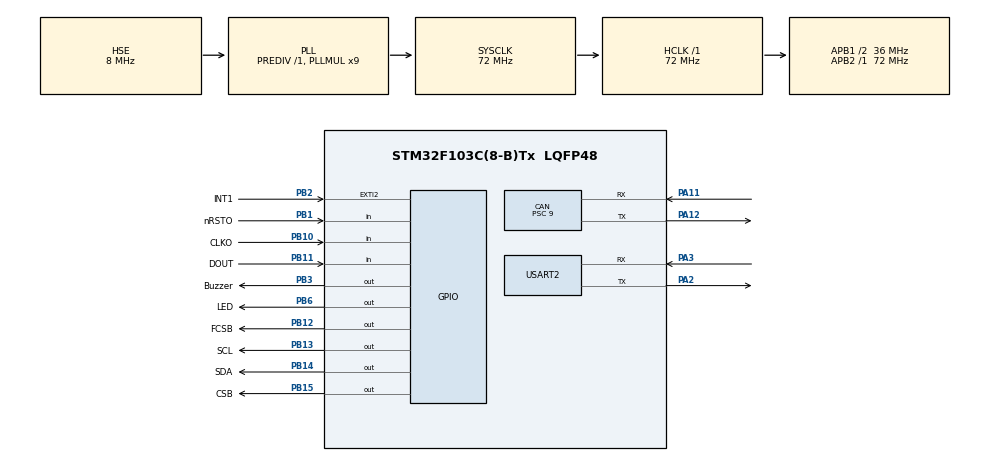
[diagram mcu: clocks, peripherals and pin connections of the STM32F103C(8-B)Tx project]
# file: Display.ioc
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CAN.BS1=CAN_BS1_7TQ
CAN.BS2=CAN_BS2_8TQ
CAN.CalculateTimeBit=4000
CAN.CalculateTimeQuantum=250.0
CAN.Prescaler=9
Dma.Request0=USART2_RX
Dma.USART2_RX.0.Direction=DMA_PERIPH_TO_MEMORY
Dma.USART2_RX.0.Instance=DMA1_Channel6
Dma.USART2_RX.0.MemDataAlignment=DMA_MDATAALIGN_BYTE
Dma.USART2_RX.0.MemInc=DMA_MINC_ENABLE
Dma.USART2_RX.0.Mode=DMA_NORMAL
Dma.USART2_RX.0.PeriphDataAlignment=DMA_PDATAALIGN_BYTE
Dma.USART2_RX.0.PeriphInc=DMA_PINC_DISABLE
Dma.USART2_RX.0.Priority=DMA_PRIORITY_LOW
Mcu.Family=STM32F1
Mcu.Name=STM32F103C(8-B)Tx
Mcu.Package=LQFP48
NVIC.DMA1_Channel6_IRQn=true\:0\:0\:false\:false\:true\:false
NVIC.EXTI2_IRQn=true\:2\:0\:true\:false\:true\:true
NVIC.PriorityGroup=NVIC_PRIORITYGROUP_4
NVIC.TIM3_IRQn=true\:3\:0\:true\:false\:true\:true
NVIC.USART2_IRQn=true\:1\:0\:true\:false\:true\:true
NVIC.USB_LP_CAN1_RX0_IRQn=true\:0\:0\:false\:false\:true\:true
PA11.Mode=Master
PA11.Signal=CAN_RX
PA12.Mode=Master
PA12.Signal=CAN_TX
PA13.Mode=Serial_Wire
PA13.Signal=SYS_JTMS-SWDIO
PA14.Mode=Serial_Wire
PA14.Signal=SYS_JTCK-SWCLK
PA2.Mode=Asynchronous
PA2.Signal=USART2_TX
PA3.Mode=Asynchronous
PA3.Signal=USART2_RX
PB1.GPIO_Label=nRSTO
PB1.Signal=GPIO_Input
PB10.GPIO_Label=CLKO
PB10.Signal=GPIO_Input
PB11.GPIO_Label=DOUT
PB11.GPIO_PuPd=GPIO_PULLUP
PB11.Signal=GPIO_Input
PB12.GPIO_Label=FCSB
PB12.GPIO_Speed=GPIO_SPEED_FREQ_HIGH
PB12.Signal=GPIO_Output
PB13.GPIO_Label=SCL
PB13.GPIO_Speed=GPIO_SPEED_FREQ_HIGH
PB13.Signal=GPIO_Output
PB14.GPIO_Label=SDA
PB14.GPIO_Speed=GPIO_SPEED_FREQ_HIGH
PB14.Signal=GPIO_Output
PB15.GPIO_Label=CSB
PB15.GPIO_Speed=GPIO_SPEED_FREQ_HIGH
PB15.Signal=GPIO_Output
PB2.GPIO_Label=INT1
PB2.GPIO_PuPd=GPIO_PULLUP
PB2.Signal=GPXTI2
PB3.GPIO_Label=Buzzer
PB3.Signal=GPIO_Output
PB6.GPIO_Label=LED
PB6.Signal=GPIO_Output
PD0-OSC_IN.Mode=HSE-External-Oscillator
PD0-OSC_IN.Signal=RCC_OSC_IN
PD1-OSC_OUT.Mode=HSE-External-Oscillator
PD1-OSC_OUT.Signal=RCC_OSC_OUT
ProjectManager.HeapSize=0x200
ProjectManager.StackSize=0x400
ProjectManager.TargetToolchain=MDK-ARM V5
RCC.AHBFreq_Value=72000000
RCC.APB1CLKDivider=RCC_HCLK_DIV2
RCC.APB1Freq_Value=36000000
RCC.APB1TimFreq_Value=72000000
RCC.APB2Freq_Value=72000000
RCC.APB2TimFreq_Value=72000000
RCC.HCLKFreq_Value=72000000
RCC.PLLMUL=RCC_PLL_MUL9
RCC.PLLSourceVirtual=RCC_PLLSOURCE_HSE
RCC.SYSCLKFreq_VALUE=72000000
RCC.SYSCLKSource=RCC_SYSCLKSOURCE_PLLCLK
RCC.USBFreq_Value=72000000
TIM3.Period=4999
TIM3.Prescaler=7199
USART2.VirtualMode=VM_ASYNC
VP_TIM3_VS_ClockSourceINT.Mode=Internal
board=Display

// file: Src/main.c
/**
  ******************************************************************************
  * @file           : main.c
  * @brief          : Main program body
  ******************************************************************************
  ** This notice applies to any and all portions of this file
  * that are not between comment pairs USER CODE BEGIN and
  * USER CODE END. Other portions of this file, whether
  * inserted by the user or by software development tools
  * are owned by their respective copyright owners.
  *
  * COPYRIGHT(c) 2018 STMicroelectronics
  *
  * Redistribution and use in source and binary forms, with or without modification,
  * are permitted provided that the following conditions are met:
  *   1. Redistributions of source code must retain the above copyright notice,
  *      this list of conditions and the following disclaimer.
  *   2. Redistributions in binary form must reproduce the above copyright notice,
  *      this list of conditions and the following disclaimer in the documentation
  *      and/or other materials provided with the distribution.
  *   3. Neither the name of STMicroelectronics nor the names of its contributors
  *      may be used to endorse or promote products derived from this software
  *      without specific prior written permission.
  *
  * THIS SOFTWARE IS PROVIDED BY THE COPYRIGHT HOLDERS AND CONTRIBUTORS "AS IS"
  * AND ANY EXPRESS OR IMPLIED WARRANTIES, INCLUDING, BUT NOT LIMITED TO, THE
  * IMPLIED WARRANTIES OF MERCHANTABILITY AND FITNESS FOR A PARTICULAR PURPOSE ARE
  * DISCLAIMED. IN NO EVENT SHALL THE COPYRIGHT HOLDER OR CONTRIBUTORS BE LIABLE
  * FOR ANY DIRECT, INDIRECT, INCIDENTAL, SPECIAL, EXEMPLARY, OR CONSEQUENTIAL
  * DAMAGES (INCLUDING, BUT NOT LIMITED TO, PROCUREMENT OF SUBSTITUTE GOODS OR
  * SERVICES; LOSS OF USE, DATA, OR PROFITS; OR BUSINESS INTERRUPTION) HOWEVER
  * CAUSED AND ON ANY THEORY OF LIABILITY, WHETHER IN CONTRACT, STRICT LIABILITY,
  * OR TORT (INCLUDING NEGLIGENCE OR OTHERWISE) ARISING IN ANY WAY OUT OF THE USE
  * OF THIS SOFTWARE, EVEN IF ADVISED OF THE POSSIBILITY OF SUCH DAMAGE.
  *
  ******************************************************************************
  */
#include "main.h"
#include "stm32f1xx_hal.h"

/* USER CODE BEGIN Includes */
#include "can.h"
#include "delay.h"
#include "wirespi.h"
#include "cmt2219a.h"
#include "tft.h"
#include "internalflash.h"
#include "prj_typedef.h"
/* USER CODE END Includes */

CAN_HandleTypeDef hcan;

TIM_HandleTypeDef htim3;

UART_HandleTypeDef huart2;
DMA_HandleTypeDef hdma_usart2_rx;

/* USER CODE BEGIN PV */
/* Private variables ---------------------------------------------------------*/
#define WIFI_RX_LEN 12
#define WIRE_TRUE 1                           //中断发生接收到了数据
#define WIRE_FALSE 0                          //未收到数据
#define ALARM_ON 0                            //开启报警
#define ALARM_OFF 1                           //关闭报警
#define CAN_TX_LEN 8													//CAN传输长度
#define CAN_TX_TIME 3000
#define CAN_ID 0x18FEE9D8

extern uint8_t CfgTbl[];                      //无线配置表数组
extern uint8_t frame_valid;                   //无线接收中断标志

uint8_t WIFI_RxBuf[WIFI_RX_LEN]={0,1,0};          //无线接收缓冲数组
uint8_t TFT_RxBuf[110]={0};                     //串口接收缓冲数组
uint8_t TFT_ACK[6]={0};
uint32_t Alarm_state[2]={ALARM_ON,ALARM_ON};
SensorsTypeDef hsensor;

uint8_t TFTRxComplete=0;

uint8_t alarm_pos=0;                          //出现危化品位置值
uint16_t alarm_cnt=0;													//报警计时
uint8_t alarm_send=0;
//uint8_t alarm_state=ALARM_ON;                //报警状态
//uint8_t alarm_volume=ALARM_ON;                //报警音量
uint8_t value_xor=0;                          //异或值校验
//uint8_t selfcheck_state=0;                   //can是否自检
uint8_t selfcheck_cnt=0;                     //自检计数因子
//float front_alarm_value=0.01;                 //前门报警阈值
//float rear_alarm_value=0.01;                  //后门报警阈值
//float alarm_value=0.01;                       //报警阈值
//uint16_t tim2_cnt=0;
uint8_t CAN_Tx_Flag=0;
uint8_t CAN_AlarmTxBuf[8]={0,0,0,0,0,0xFF,0xFF,0xFF};
uint8_t CAN_TxBuf[8]={0,0,0,0,0,0xFF,0xFF,0xFF};
cmt2219aClass radio;                          //无线模块配置

CAN_FilterConfTypeDef  sFilterConfig;
/* USER CODE END PV */

void SystemClock_Config(void);
static void MX_GPIO_Init(void);
static void MX_DMA_Init(void);
static void MX_CAN_Init(void);
static void MX_TIM3_Init(void);
static void MX_USART2_UART_Init(void);

/* USER CODE BEGIN PFP */
/* Private function prototypes -----------------------------------------------*/

/* USER CODE END PFP */

/* USER CODE BEGIN 0 */
void vCMT2219_Setup(void);
/* USER CODE END 0 */

int main(void)
{
  /* USER CODE BEGIN 1 */
uint8_t i=0;
  /* USER CODE END 1 */

  /* MCU Configuration----------------------------------------------------------*/

  /* Reset of all peripherals, Initializes the Flash interface and the Systick. */
  HAL_Init();

  /* Configure the system clock */
  SystemClock_Config();

  /* Initialize all configured peripherals */
  MX_GPIO_Init();
  MX_DMA_Init();
  MX_CAN_Init();
  MX_TIM3_Init();
  MX_USART2_UART_Init();
  /* USER CODE BEGIN 2 */
	hsensor.HUMI.number_float=50;
	hsensor.TEMP.number_float=20;
	CAN_TX_Init(&hcan, CAN_ID);
	Delay_Init(72);                           //配置us延时初始化函数
	vCMT2219_Setup();                             //配置无线模块参数
	MyCAN_FilterConf(&hcan,&sFilterConfig);       //配置CAN过滤器组并使能接收中断
	HAL_TIM_Base_Start_IT(&htim3);
	//读flash中报警状态
	LoadSetArray(FLASH_USER_START_ADDR+RISKCHEMI_ALARMSET_ADDR, Alarm_state,2);
	Delay_us(500000);
	TFT_StartDesktop(*Alarm_state);
	Delay_us(3000);
	__HAL_UART_ENABLE_IT(&huart2, UART_IT_IDLE);
  /* USER CODE END 2 */

  /* Infinite loop */

  /* USER CODE BEGIN WHILE */
  while (1)
  {
		/**************************串口屏通信**********************************/
		HAL_GPIO_TogglePin(GPIOB, LED_Pin);
		HAL_UART_Receive_DMA(&huart2, TFT_RxBuf, 110);
		if(TFTRxComplete==1)
		{
			TFTRxComplete=0;
			if((TFT_RxBuf[4]==0x30)&&(TFT_RxBuf[7]==0xAA))
			{
				if(TFT_RxBuf[8]==0xB0)
				{
					if((TFT_RxBuf[9]==0x00)&&(TFT_RxBuf[10]==0x00))                            //关闭报警
					{
						*Alarm_state=ALARM_OFF;
						FlashWrite_ArrayUint32(FLASH_USER_START_ADDR+RISKCHEMI_ALARMSET_ADDR, Alarm_state,2);
					}
					else if((TFT_RxBuf[9]==0x01)&&(TFT_RxBuf[10]==0x00))                      //打开报警
					{
						*Alarm_state=ALARM_ON;
						FlashWrite_ArrayUint32(FLASH_USER_START_ADDR+RISKCHEMI_ALARMSET_ADDR, Alarm_state,2);
					}
				}
				else if(TFT_RxBuf[8]==0xB1)
				{
					if(TFT_RxBuf[9]==0x01)                            //关闭声音
					{
						*(Alarm_state+1)=ALARM_OFF;
						FlashWrite_ArrayUint32(FLASH_USER_START_ADDR+RISKCHEMI_ALARMSET_ADDR, Alarm_state,2);
					}
					else                                              //打开声音
						{
						*(Alarm_state+1)=ALARM_ON;
						FlashWrite_ArrayUint32(FLASH_USER_START_ADDR+RISKCHEMI_ALARMSET_ADDR, Alarm_state,2);
					}
				}
			}
			if((TFT_RxBuf[4]==0x40)&&(TFT_RxBuf[5]==0x01)&&(TFT_RxBuf[6]==0x02))
				alarm_send=1;																				//发送报警按钮按下
		}

	  /*************************无线数据接收****************************************/
		if(frame_valid==WIRE_TRUE)
		{                                                                                                                                                                                                                                                                                                                                                                                                                                                                                                                                                                                                                                                                                                                                                                                                                                                                                                                                                                                                                                                                                                                                                                                                                                                                                                                                                                                                                                                                                                                                                                                                                                                                                                                                                          {
			frame_valid=WIRE_FALSE;                        //外部中断标志清零
			HAL_GPIO_WritePin(GPIOB, LED_Pin, GPIO_PIN_RESET);
			HAL_NVIC_DisableIRQ(EXTI2_IRQn);               //关闭外部中断即无线接收中断
			bCMT2219_GetMessage(WIFI_RxBuf, WIFI_RX_LEN);  //获取包数据
			value_xor=0;
			for(uint8_t i=0;i<WIFI_RX_LEN-1;i++)                      //校验接收到的数据
			{
				value_xor^=WIFI_RxBuf[i];
			}
			if(WIFI_RxBuf[WIFI_RX_LEN-1]==value_xor&&value_xor!=0)//如果接受到正确的帧头信息并且不是全0错误数据
			{
				//只收进来温度湿度数据
				hsensor.TEMP.number_uchar[3]=WIFI_RxBuf[3];
				hsensor.TEMP.number_uchar[2]=WIFI_RxBuf[4];
				hsensor.TEMP.number_uchar[1]=WIFI_RxBuf[5];
				hsensor.TEMP.number_uchar[0]=WIFI_RxBuf[6];
				hsensor.HUMI.number_uchar[3]=WIFI_RxBuf[7];
				hsensor.HUMI.number_uchar[2]=WIFI_RxBuf[8];
				hsensor.HUMI.number_uchar[1]=WIFI_RxBuf[9];
				hsensor.HUMI.number_uchar[0]=WIFI_RxBuf[10];
				TFT_TransTemHumi((uint16_t)hsensor.TEMP.number_float,(uint16_t)hsensor.HUMI.number_float);//更新温湿度

				CAN_TxBuf[3]=	(uint16_t)((hsensor.TEMP.number_float+64.f)/0.5);	//温度值
				CAN_TxBuf[4]=(uint16_t)(hsensor.HUMI.number_float/0.5);	//湿度值
				CAN_AlarmTxBuf[3]=	(uint16_t)((hsensor.TEMP.number_float+64.f)/0.5);	//温度值
				CAN_AlarmTxBuf[4]=(uint16_t)(hsensor.HUMI.number_float/0.5);	//湿度值
			}
			vCMT2219_Setup();
			HAL_NVIC_EnableIRQ(EXTI2_IRQn);                //使能外部中断
		}
	}
		Delay_us(999);
		/****************************报警处理**********************************/
		if(*Alarm_state==ALARM_ON)
		{
			if(WIFI_RxBuf[1]==0X00)     //如果是报警信号
			{
				WIFI_RxBuf[1]=0XFF;
				alarm_pos=WIFI_RxBuf[2];
				alarm_cnt=5000;           //报警3000ms
			}

			if(*(Alarm_state+1)==ALARM_OFF)
					HAL_GPIO_WritePin(GPIOB, Buzzer_Pin, GPIO_PIN_RESET);
			if(alarm_cnt>0)
				alarm_cnt--;
				//报警图像处理
			if(alarm_cnt==4999)
			{
				TFT_SendWairning();
				if(*(Alarm_state+1)==ALARM_ON)
					HAL_GPIO_WritePin(GPIOB, Buzzer_Pin, GPIO_PIN_SET);
				Delay_us(100);
				switch (alarm_pos)
				{
					case DOOR1_LEFT:
						TFT_StartWairning(DOOR1_LEFT, SHOW);
						CAN_AlarmTxBuf[0]|=1<<4;
						CAN_AlarmTxBuf[1]|=1<<6;
						break;
					case DOOR1_RIGHT:
						TFT_StartWairning(DOOR1_RIGHT, SHOW);
						CAN_AlarmTxBuf[0]|=1<<4;
						CAN_AlarmTxBuf[1]|=1<<7;
						break;
					case DOOR2_LEFT:
						TFT_StartWairning(DOOR2_LEFT, SHOW);
						CAN_AlarmTxBuf[0]|=1<<3;
						CAN_AlarmTxBuf[1]|=1<<4;
						break;
					case DOOR2_RIGHT:
						TFT_StartWairning(DOOR2_RIGHT, SHOW);
						CAN_AlarmTxBuf[0]|=1<<3;
						CAN_AlarmTxBuf[1]|=1<<5;
						break;
					case DOOR3_LEFT:
						TFT_StartWairning(DOOR3_LEFT, SHOW);
						CAN_AlarmTxBuf[0]|=1<<2;
						CAN_AlarmTxBuf[1]|=1<<2;
						break;
					case DOOR3_RIGHT:
						TFT_StartWairning(DOOR3_RIGHT, SHOW);
						CAN_AlarmTxBuf[0]|=1<<2;
						CAN_AlarmTxBuf[1]|=1<<3;
						break;
					case DOOR4_LEFT:
						TFT_StartWairning(DOOR4_LEFT, SHOW);
						CAN_AlarmTxBuf[0]|=1<<1;
						CAN_AlarmTxBuf[1]|=1;
						break;
					case DOOR4_RIGHT:
						TFT_StartWairning(DOOR4_RIGHT, SHOW);
						CAN_AlarmTxBuf[0]|=1<<1;
						CAN_AlarmTxBuf[1]|=1<<1;
						break;
					case SEAT_NUM1:
						TFT_StartWairning(SEAT_NUM1, SHOW);
						CAN_AlarmTxBuf[0]|=1<<5;
						CAN_AlarmTxBuf[2]|=1;
						break;
					case SEAT_NUM2:
						TFT_StartWairning(SEAT_NUM2, SHOW);
						CAN_AlarmTxBuf[0]|=1<<5;
						CAN_AlarmTxBuf[2]|=1<<1;
						break;
					case SEAT_NUM3:
						TFT_StartWairning(SEAT_NUM3, SHOW);
						CAN_AlarmTxBuf[0]|=1<<5;
						CAN_AlarmTxBuf[2]|=1<<2;
						break;
					case SEAT_NUM4:
						TFT_StartWairning(SEAT_NUM4, SHOW);
						CAN_AlarmTxBuf[0]|=1<<5;
						CAN_AlarmTxBuf[2]|=1<<3;
						break;
					case SEAT_NUM5:
						TFT_StartWairning(SEAT_NUM5, SHOW);
						CAN_AlarmTxBuf[0]|=1<<5;
						CAN_AlarmTxBuf[2]|=1<<4;
						break;
					case SEAT_NUM6:
						TFT_StartWairning(SEAT_NUM6, SHOW);
						CAN_AlarmTxBuf[0]|=1<<5;
						CAN_AlarmTxBuf[2]|=1<<5;
						break;
					default: break ;
				}
			}
			else if(alarm_cnt==1)															//报警最后消除
			{
				for(i=0;i<3;i++)
					CAN_AlarmTxBuf[i]=0;
				TFT_Init();
				HAL_GPIO_WritePin(GPIOB, Buzzer_Pin, GPIO_PIN_RESET);
			}
		}
		else if((alarm_cnt>0)&&(*Alarm_state==ALARM_OFF))
		{
			for(i=0;i<3;i++)
					CAN_AlarmTxBuf[i]=0;
			alarm_cnt=0;
			TFT_Init();
			TFT_StartDesktop(*Alarm_state);
			HAL_GPIO_WritePin(GPIOB, Buzzer_Pin, GPIO_PIN_RESET);
		}
		/***************CAN**********************/
		if(CAN_Tx_Flag==1)
		{
			CAN_Tx_Flag=0;
			if(selfcheck_cnt>19)
			{
				if(alarm_send!=1)
				{
					for(i=0;i<8;i++)
						hcan.pTxMsg->Data[i]=CAN_TxBuf[i];
					HAL_CAN_Transmit(&hcan,100);
				}

				else
				{
					TFT_Init();
					for(i=0;i<8;i++)
						hcan.pTxMsg->Data[i]=CAN_AlarmTxBuf[i];
					HAL_CAN_Transmit(&hcan,100);
					alarm_send=0;
				}
			}
			else
			{
				selfcheck_cnt++;
				hcan.pTxMsg->Data[0]=0x01;
				for(i=1;i<8;i++)
						hcan.pTxMsg->Data[i]=CAN_TxBuf[i];
				HAL_CAN_Transmit(&hcan,100);
			}
		}

  /* USER CODE END WHILE */

 }

}

void SystemClock_Config(void)
{

  RCC_OscInitTypeDef RCC_OscInitStruct;
  RCC_ClkInitTypeDef RCC_ClkInitStruct;

    /**Initializes the CPU, AHB and APB busses clocks
    */
  RCC_OscInitStruct.OscillatorType = RCC_OSCILLATORTYPE_HSE;
  RCC_OscInitStruct.HSEState = RCC_HSE_ON;
  RCC_OscInitStruct.HSEPredivValue = RCC_HSE_PREDIV_DIV1;
  RCC_OscInitStruct.HSIState = RCC_HSI_ON;
  RCC_OscInitStruct.PLL.PLLState = RCC_PLL_ON;
  RCC_OscInitStruct.PLL.PLLSource = RCC_PLLSOURCE_HSE;
  RCC_OscInitStruct.PLL.PLLMUL = RCC_PLL_MUL9;
  if (HAL_RCC_OscConfig(&RCC_OscInitStruct) != HAL_OK)
  {
    _Error_Handler(__FILE__, __LINE__);
  }

    /**Initializes the CPU, AHB and APB busses clocks
    */
  RCC_ClkInitStruct.ClockType = RCC_CLOCKTYPE_HCLK|RCC_CLOCKTYPE_SYSCLK
                              |RCC_CLOCKTYPE_PCLK1|RCC_CLOCKTYPE_PCLK2;
  RCC_ClkInitStruct.SYSCLKSource = RCC_SYSCLKSOURCE_PLLCLK;
  RCC_ClkInitStruct.AHBCLKDivider = RCC_SYSCLK_DIV1;
  RCC_ClkInitStruct.APB1CLKDivider = RCC_HCLK_DIV2;
  RCC_ClkInitStruct.APB2CLKDivider = RCC_HCLK_DIV1;

  if (HAL_RCC_ClockConfig(&RCC_ClkInitStruct, FLASH_LATENCY_2) != HAL_OK)
  {
    _Error_Handler(__FILE__, __LINE__);
  }

    /**Configure the Systick interrupt time
    */
  HAL_SYSTICK_Config(HAL_RCC_GetHCLKFreq()/1000);

    /**Configure the Systick
    */
  HAL_SYSTICK_CLKSourceConfig(SYSTICK_CLKSOURCE_HCLK);

  /* SysTick_IRQn interrupt configuration */
  HAL_NVIC_SetPriority(SysTick_IRQn, 0, 0);
}

/* CAN init function */
static void MX_CAN_Init(void)
{

  hcan.Instance = CAN1;
  hcan.Init.Prescaler = 9;
  hcan.Init.Mode = CAN_MODE_NORMAL;
  hcan.Init.SJW = CAN_SJW_1TQ;
  hcan.Init.BS1 = CAN_BS1_7TQ;
  hcan.Init.BS2 = CAN_BS2_8TQ;
  hcan.Init.TTCM = DISABLE;
  hcan.Init.ABOM = DISABLE;
  hcan.Init.AWUM = DISABLE;
  hcan.Init.NART = DISABLE;
  hcan.Init.RFLM = DISABLE;
  hcan.Init.TXFP = DISABLE;
  if (HAL_CAN_Init(&hcan) != HAL_OK)
  {
    _Error_Handler(__FILE__, __LINE__);
  }
}

/* TIM3 init function */
static void MX_TIM3_Init(void)
{

  TIM_ClockConfigTypeDef sClockSourceConfig;
  TIM_MasterConfigTypeDef sMasterConfig;

  htim3.Instance = TIM3;
  htim3.Init.Prescaler = 7199;
  htim3.Init.CounterMode = TIM_COUNTERMODE_UP;
  htim3.Init.Period = 4999;
  htim3.Init.ClockDivision = TIM_CLOCKDIVISION_DIV1;
  htim3.Init.AutoReloadPreload = TIM_AUTORELOAD_PRELOAD_DISABLE;
  if (HAL_TIM_Base_Init(&htim3) != HAL_OK)
  {
    _Error_Handler(__FILE__, __LINE__);
  }

  sClockSourceConfig.ClockSource = TIM_CLOCKSOURCE_INTERNAL;
  if (HAL_TIM_ConfigClockSource(&htim3, &sClockSourceConfig) != HAL_OK)
  {
    _Error_Handler(__FILE__, __LINE__);
  }

  sMasterConfig.MasterOutputTrigger = TIM_TRGO_RESET;
  sMasterConfig.MasterSlaveMode = TIM_MASTERSLAVEMODE_DISABLE;
  if (HAL_TIMEx_MasterConfigSynchronization(&htim3, &sMasterConfig) != HAL_OK)
  {
    _Error_Handler(__FILE__, __LINE__);
  }

}

/* USART2 init function */
static void MX_USART2_UART_Init(void)
{

  huart2.Instance = USART2;
  huart2.Init.BaudRate = 115200;
  huart2.Init.WordLength = UART_WORDLENGTH_8B;
  huart2.Init.StopBits = UART_STOPBITS_1;
  huart2.Init.Parity = UART_PARITY_NONE;
  huart2.Init.Mode = UART_MODE_TX_RX;
  huart2.Init.HwFlowCtl = UART_HWCONTROL_NONE;
  huart2.Init.OverSampling = UART_OVERSAMPLING_16;
  if (HAL_UART_Init(&huart2) != HAL_OK)
  {
    _Error_Handler(__FILE__, __LINE__);
  }

}

static void MX_DMA_Init(void)
{
  /* DMA controller clock enable */
  __HAL_RCC_DMA1_CLK_ENABLE();

  /* DMA interrupt init */
  /* DMA1_Channel6_IRQn interrupt configuration */
  HAL_NVIC_SetPriority(DMA1_Channel6_IRQn, 0, 0);
  HAL_NVIC_EnableIRQ(DMA1_Channel6_IRQn);

}

/** Configure pins as
        * Analog
        * Input
        * Output
        * EVENT_OUT
        * EXTI
*/
static void MX_GPIO_Init(void)
{

  GPIO_InitTypeDef GPIO_InitStruct;

  /* GPIO Ports Clock Enable */
  __HAL_RCC_GPIOD_CLK_ENABLE();
  __HAL_RCC_GPIOA_CLK_ENABLE();
  __HAL_RCC_GPIOB_CLK_ENABLE();

  /*Configure GPIO pin Output Level */
  HAL_GPIO_WritePin(GPIOB, FCSB_Pin|SCL_Pin|SDA_Pin|CSB_Pin
                          |Buzzer_Pin|LED_Pin, GPIO_PIN_RESET);

  /*Configure GPIO pins : nRSTO_Pin CLKO_Pin */
  GPIO_InitStruct.Pin = nRSTO_Pin|CLKO_Pin;
  GPIO_InitStruct.Mode = GPIO_MODE_INPUT;
  GPIO_InitStruct.Pull = GPIO_NOPULL;
  HAL_GPIO_Init(GPIOB, &GPIO_InitStruct);

  /*Configure GPIO pin : INT1_Pin */
  GPIO_InitStruct.Pin = INT1_Pin;
  GPIO_InitStruct.Mode = GPIO_MODE_IT_RISING;
  GPIO_InitStruct.Pull = GPIO_PULLUP;
  HAL_GPIO_Init(INT1_GPIO_Port, &GPIO_InitStruct);

  /*Configure GPIO pin : DOUT_Pin */
  GPIO_InitStruct.Pin = DOUT_Pin;
  GPIO_InitStruct.Mode = GPIO_MODE_INPUT;
  GPIO_InitStruct.Pull = GPIO_PULLUP;
  HAL_GPIO_Init(DOUT_GPIO_Port, &GPIO_InitStruct);

  /*Configure GPIO pins : FCSB_Pin SCL_Pin SDA_Pin CSB_Pin */
  GPIO_InitStruct.Pin = FCSB_Pin|SCL_Pin|SDA_Pin|CSB_Pin;
  GPIO_InitStruct.Mode = GPIO_MODE_OUTPUT_PP;
  GPIO_InitStruct.Speed = GPIO_SPEED_FREQ_HIGH;
  HAL_GPIO_Init(GPIOB, &GPIO_InitStruct);

  /*Configure GPIO pins : Buzzer_Pin LED_Pin */
  GPIO_InitStruct.Pin = Buzzer_Pin|LED_Pin;
  GPIO_InitStruct.Mode = GPIO_MODE_OUTPUT_PP;
  GPIO_InitStruct.Speed = GPIO_SPEED_FREQ_LOW;
  HAL_GPIO_Init(GPIOB, &GPIO_InitStruct);

  /* EXTI interrupt init*/
  HAL_NVIC_SetPriority(EXTI2_IRQn, 2, 0);
  HAL_NVIC_EnableIRQ(EXTI2_IRQn);

}

/* USER CODE BEGIN 4 */
void vCMT2219_Setup(void)            //设置无线接收模块
{
  radio.CrcDisable     = SET;
  radio.FixedPktLength = SET;
  radio.NodeDisable    = SET;
  radio.PktLength      = 16;
  vCMT2219_Init(CfgTbl, &radio);
  vCMT2219_GpioFuncCfg(GPIO1_POR|GPIO2_INT1|GPIO3_CLK|GPIO4_DOUT);     //GPIO1默认为nRST，GPIO2默认为INT1，GPIO3改为DOUT，GPIO4改为DCLK

  //vIntSourcCfg((FIFO_WBYTE+OFFSET), 0);                               //Hope自带驱动内容
  //vCMT2219_IntOutputCfg(INT1_PIN, 3);
	vCMT2219_IntOutputCfg(INT1_PIN, INT_SOURCE_RX_PACKET_DONE);           //INT1输出中断信号，中断信号来源为接收packet完成
  vCMT2219_EnableIntSource(0xFF);                                       //使能所有中断
  vCMT2219_GoRx();                                                      //转入接收模式
}

void HAL_TIM_PeriodElapsedCallback(TIM_HandleTypeDef *htim)
{
	CAN_Tx_Flag=1;
}
/* USER CODE END 4 */

void _Error_Handler(char *file, int line)
{
  while(1)
  {
  }
}

/************************ (C) COPYRIGHT STMicroelectronics *****END OF FILE****/
